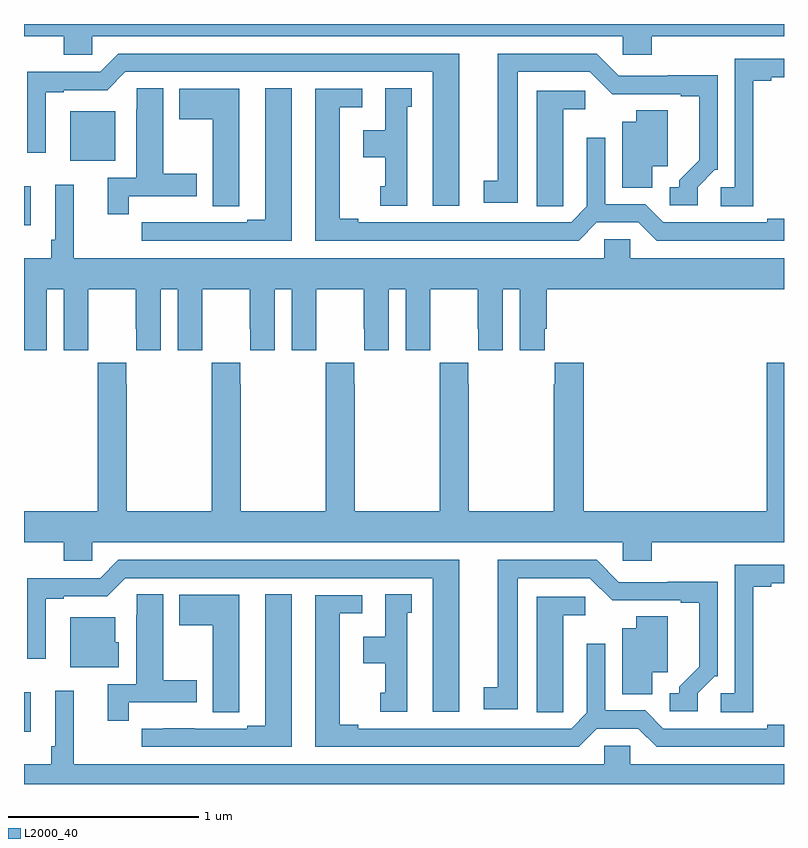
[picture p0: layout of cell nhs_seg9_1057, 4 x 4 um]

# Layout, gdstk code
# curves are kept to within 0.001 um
import gdstk
lib = gdstk.Library(unit=1e-6, precision=1e-09)
def R(c, l, rs):  # rectangles x0, y0, x1, y1
    for r in rs: c.add(gdstk.rectangle(r[:2], r[2:], *l))
def P(c, l, *ps):  # polygons
    for p in ps: c.add(gdstk.Polygon(p, *l))
L2000_40 = (2000, 40)

nhs_seg9_1057 = lib.new_cell('nhs_seg9_1057')
R(nhs_seg9_1057, L2000_40, [(169,1176.776,169.036,1176.982), (169,1179.44,169.036,1179.646), (169.244,1179.779,169.48,1180.042)])
P(nhs_seg9_1057, L2000_40, [(169.359,1180.436),(172.152,1180.436),(172.152,1180.338),(172.304,1180.338),(172.304,1180.436),(173,1180.436),(173,1180.5),(169,1180.5),(169,1180.436),(169.208,1180.436),(169.208,1180.338),(169.359,1180.338)],
  [(172.545,1179.642),(172.635,1179.732),(172.65,1179.732),(172.65,1180.229),(172.387,1180.229),(172.387,1180.227),(172.131,1180.227),(172.014,1180.344),(171.494,1180.344),(171.494,1179.674),(171.42,1179.674),(171.42,1179.558),(171.598,1179.558),(171.598,1180.248),(171.978,1180.248),(172.096,1180.13),(172.457,1180.131),(172.457,1180.119),(172.553,1180.119),(172.553,1179.782),(172.448,1179.677),(172.448,1179.642),(172.398,1179.642),(172.398,1179.546),(172.545,1179.546)],
  [(171.292,1180.344),(169.497,1180.344),(169.401,1180.248),(169.017,1180.248),(169.017,1179.822),(169.114,1179.822),(169.114,1180.14),(169.21,1180.14),(169.21,1180.152),(169.437,1180.152),(169.533,1180.248),(171.152,1180.248),(171.152,1179.543),(171.292,1179.543)],
  [(172.837,1180.201),(172.933,1180.201),(172.933,1180.221),(173,1180.221),(173,1180.317),(172.74,1180.317),(172.74,1179.642),(172.668,1179.642),(172.668,1179.541),(172.837,1179.541)],
  [(169.55,1179.594),(169.909,1179.594),(169.909,1179.711),(169.732,1179.711),(169.732,1180.163),(169.593,1180.163),(169.593,1180.052),(169.592,1180.052),(169.592,1179.69),(169.442,1179.69),(169.442,1179.498),(169.55,1179.498)],
  [(170.41,1180.163),(170.27,1180.163),(170.27,1179.471),(170.174,1179.471),(170.174,1179.456),(169.898,1179.456),(169.898,1179.457),(169.732,1179.457),(169.732,1179.456),(169.62,1179.456),(169.62,1179.36),(170.41,1179.36)],
  [(171.016,1180.065),(171.04,1180.065),(171.04,1180.163),(170.9,1180.163),(170.9,1179.94),(170.786,1179.94),(170.786,1179.8),(170.9,1179.8),(170.9,1179.645),(170.876,1179.645),(170.876,1179.543),(171.016,1179.543)],
  [(170.133,1179.649),(170.134,1179.649),(170.134,1180.159),(169.817,1180.159),(169.817,1180),(169.994,1180),(169.994,1179.541),(170.133,1179.541)],
  [(172.015,1179.456),(172.233,1179.456),(172.329,1179.36),(173,1179.36),(173,1179.476),(172.913,1179.476),(172.913,1179.456),(172.365,1179.456),(172.269,1179.552),(172.059,1179.552),(172.059,1179.901),(171.963,1179.901),(171.963,1179.54),(171.879,1179.456),(170.758,1179.456),(170.758,1179.476),(170.662,1179.476),(170.662,1180.062),(170.779,1180.062),(170.779,1180.158),(170.534,1180.158),(170.534,1179.36),(171.919,1179.36)],
  [(171.837,1179.649),(171.838,1179.649),(171.838,1180.052),(171.955,1180.052),(171.955,1180.149),(171.698,1180.149),(171.698,1179.541),(171.837,1179.541)],
  [(172.306,1179.752),(172.387,1179.752),(172.387,1180.046),(172.223,1180.046),(172.223,1179.985),(172.148,1179.985),(172.148,1179.637),(172.306,1179.637)],
  [(169.262,1179.655),(169.164,1179.655),(169.164,1179.364),(169.144,1179.364),(169.144,1179.268),(169,1179.268),(169,1178.784),(169.12,1178.784),(169.12,1179.104),(169.208,1179.104),(169.208,1178.784),(169.338,1178.784),(169.338,1178.896),(169.339,1178.896),(169.339,1179.104),(169.589,1179.104),(169.589,1178.896),(169.59,1178.896),(169.59,1178.784),(169.72,1178.784),(169.72,1179.104),(169.808,1179.104),(169.808,1178.784),(169.938,1178.784),(169.938,1178.896),(169.939,1178.896),(169.939,1179.104),(170.189,1179.104),(170.189,1178.896),(170.19,1178.896),(170.19,1178.784),(170.32,1178.784),(170.32,1179.104),(170.408,1179.104),(170.408,1178.784),(170.538,1178.784),(170.538,1178.896),(170.539,1178.896),(170.539,1179.104),(170.789,1179.104),(170.789,1178.896),(170.79,1178.896),(170.79,1178.784),(170.92,1178.784),(170.92,1179.104),(171.008,1179.104),(171.008,1178.784),(171.138,1178.784),(171.138,1178.896),(171.139,1178.896),(171.139,1179.104),(171.389,1179.104),(171.389,1178.896),(171.39,1178.896),(171.39,1178.784),(171.52,1178.784),(171.52,1179.104),(171.608,1179.104),(171.608,1178.784),(171.742,1178.784),(171.742,1178.896),(171.752,1178.896),(171.752,1179.104),(173,1179.104),(173,1179.268),(172.191,1179.268),(172.191,1179.366),(172.053,1179.366),(172.053,1179.268),(169.262,1179.268)],
  [(169.359,1177.772),(172.152,1177.772),(172.152,1177.674),(172.304,1177.674),(172.304,1177.772),(173,1177.772),(173,1178.716),(172.91,1178.716),(172.91,1177.936),(171.947,1177.936),(171.947,1178.716),(171.793,1178.716),(171.793,1178.603),(171.787,1178.603),(171.787,1177.936),(171.342,1177.936),(171.342,1178.603),(171.339,1178.603),(171.339,1178.716),(171.189,1178.716),(171.189,1178.603),(171.187,1178.603),(171.187,1177.936),(170.742,1177.936),(170.742,1178.603),(170.739,1178.603),(170.739,1178.716),(170.589,1178.716),(170.589,1178.603),(170.587,1178.603),(170.587,1177.936),(170.142,1177.936),(170.142,1178.603),(170.139,1178.603),(170.139,1178.716),(169.989,1178.716),(169.989,1178.603),(169.987,1178.603),(169.987,1177.936),(169.542,1177.936),(169.542,1178.603),(169.539,1178.603),(169.539,1178.716),(169.389,1178.716),(169.389,1178.603),(169.387,1178.603),(169.387,1177.936),(169,1177.936),(169,1177.772),(169.208,1177.772),(169.208,1177.674),(169.359,1177.674)],
  [(172.545,1176.978),(172.635,1177.068),(172.65,1177.068),(172.65,1177.565),(172.387,1177.565),(172.387,1177.563),(172.131,1177.563),(172.014,1177.68),(171.494,1177.68),(171.494,1177.01),(171.42,1177.01),(171.42,1176.894),(171.598,1176.894),(171.598,1177.584),(171.978,1177.584),(172.096,1177.466),(172.457,1177.467),(172.457,1177.455),(172.553,1177.455),(172.553,1177.118),(172.448,1177.013),(172.448,1176.978),(172.398,1176.978),(172.398,1176.882),(172.545,1176.882)],
  [(171.292,1177.68),(169.497,1177.68),(169.401,1177.584),(169.017,1177.584),(169.017,1177.158),(169.114,1177.158),(169.114,1177.476),(169.21,1177.476),(169.21,1177.488),(169.437,1177.488),(169.533,1177.584),(171.152,1177.584),(171.152,1176.879),(171.292,1176.879)],
  [(172.837,1177.537),(172.933,1177.537),(172.933,1177.557),(173,1177.557),(173,1177.653),(172.74,1177.653),(172.74,1176.978),(172.668,1176.978),(172.668,1176.877),(172.837,1176.877)],
  [(170.41,1177.499),(170.27,1177.499),(170.27,1176.807),(170.174,1176.807),(170.174,1176.792),(169.898,1176.792),(169.898,1176.793),(169.732,1176.793),(169.732,1176.792),(169.62,1176.792),(169.62,1176.696),(170.41,1176.696)],
  [(169.55,1176.93),(169.909,1176.93),(169.909,1177.047),(169.732,1177.047),(169.732,1177.499),(169.593,1177.499),(169.593,1177.388),(169.592,1177.388),(169.592,1177.026),(169.442,1177.026),(169.442,1176.834),(169.55,1176.834)],
  [(171.016,1177.401),(171.04,1177.401),(171.04,1177.499),(170.9,1177.499),(170.9,1177.276),(170.786,1177.276),(170.786,1177.136),(170.9,1177.136),(170.9,1176.981),(170.876,1176.981),(170.876,1176.879),(171.016,1176.879)],
  [(170.133,1176.985),(170.134,1176.985),(170.134,1177.495),(169.817,1177.495),(169.817,1177.336),(169.994,1177.336),(169.994,1176.877),(170.133,1176.877)],
  [(172.015,1176.792),(172.233,1176.792),(172.329,1176.696),(173,1176.696),(173,1176.812),(172.913,1176.812),(172.913,1176.792),(172.365,1176.792),(172.269,1176.888),(172.059,1176.888),(172.059,1177.237),(171.963,1177.237),(171.963,1176.876),(171.879,1176.792),(170.758,1176.792),(170.758,1176.812),(170.662,1176.812),(170.662,1177.398),(170.779,1177.398),(170.779,1177.494),(170.534,1177.494),(170.534,1176.696),(171.919,1176.696)],
  [(171.837,1176.985),(171.838,1176.985),(171.838,1177.388),(171.955,1177.388),(171.955,1177.485),(171.698,1177.485),(171.698,1176.877),(171.837,1176.877)],
  [(172.306,1177.088),(172.387,1177.088),(172.387,1177.382),(172.223,1177.382),(172.223,1177.321),(172.148,1177.321),(172.148,1176.973),(172.306,1176.973)],
  [(169.498,1177.245),(169.48,1177.245),(169.48,1177.378),(169.244,1177.378),(169.244,1177.115),(169.498,1177.115)],
  [(173,1176.604),(172.191,1176.604),(172.191,1176.702),(172.053,1176.702),(172.053,1176.604),(169.262,1176.604),(169.262,1176.991),(169.164,1176.991),(169.164,1176.7),(169.144,1176.7),(169.144,1176.604),(169,1176.604),(169,1176.5),(173,1176.5)])

lib.write_gds('nhs_seg9_1057.gds')
